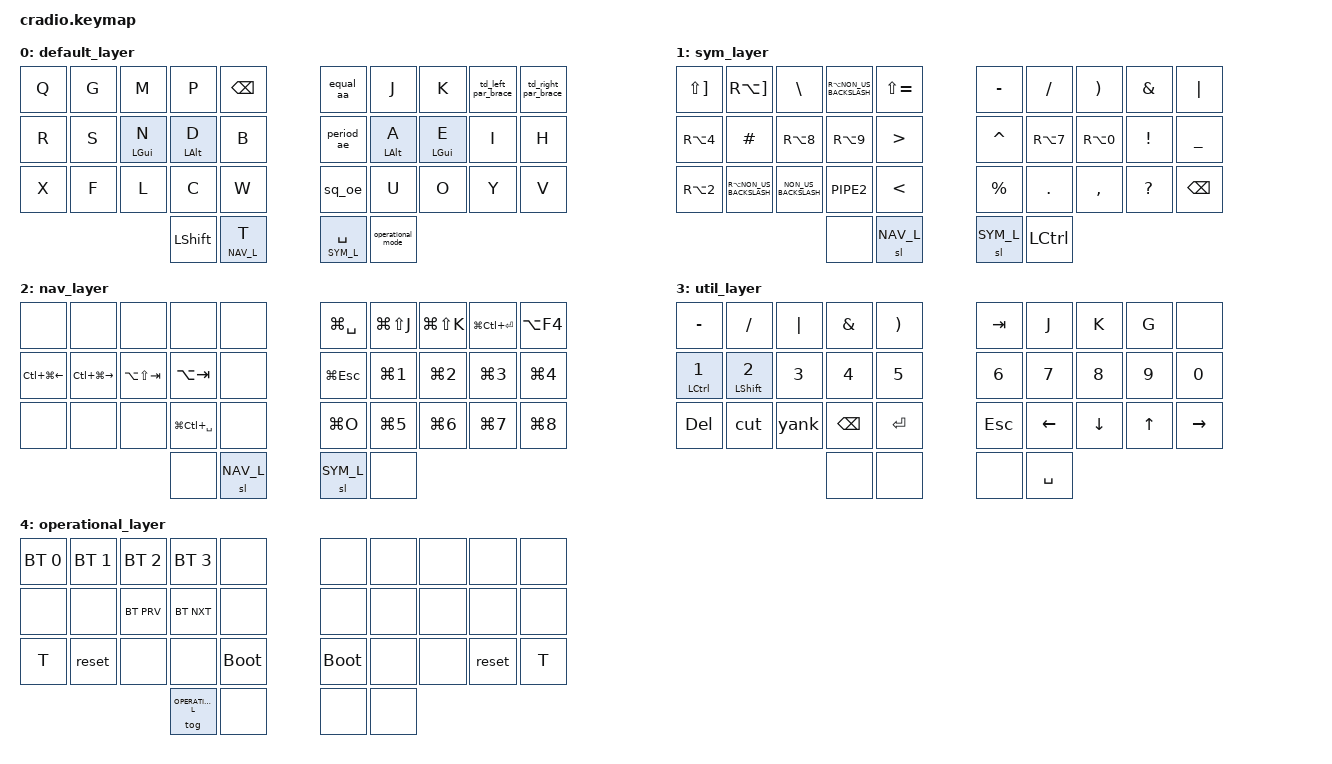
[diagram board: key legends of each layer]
/*
 * Copyright (c) 2020 The ZMK Contributors
 *
 * SPDX-License-Identifier: MIT
 */

#include <behaviors.dtsi>
#include <dt-bindings/zmk/keys.h>
#include <dt-bindings/zmk/bt.h>


&mt {
  tapping_term_ms = <500>;
};
&lt {
  tapping_term_ms = <300>;
            flavor = "tap-preferred";

};
 &sl {
     release-after-ms = <2000>;
 };


// TODO change macros to these

// #############      SWEDISH COMPATIBLE SPECIAL CHARACTERS        #################
/* #define SE_AA LEFT_BRACKET
#define SE_AE SQT
#define SE_OE SEMICOLON */

// #############      LAYERS        #################

#define DEFAULT 0
#define SYM_L 1
#define NAV_L 2
#define UTIL_L 3
#define OPERATIONAL_L 4
//#define NAV2_L 3

// #############      WINDOW KEYS        #################

// Desktop and tab navigation shortcuts
#define DESKTOP_LT   LC(LG(LEFT))
#define DESKTOP_RT   LC(LG(RIGHT))
#define WINDOW_LT    LA(LS(TAB))
#define WINDOW_RT    LA(TAB)
#define TAB_LT       LC(LS(TAB))
#define TAB_RT       LC(TAB)

// Generic bindings
#define KILL_WINDOW  LA(F4)
#define MAXIMIZE  LG(UP)
#define MINIMIZE  LG(DOWN)

// Linux specific navigation 
#define DESKTOP_PREV   LG(ESC)
#define DESKTOP_SPEC   LG(O)

#define WINDOW_1   LG(NUMBER_1)
#define WINDOW_2   LG(NUMBER_2)
#define WINDOW_3   LG(NUMBER_3)
#define WINDOW_4   LG(NUMBER_4)
#define WINDOW_5   LG(NUMBER_5)
#define WINDOW_6   LG(NUMBER_6)
#define WINDOW_7   LG(NUMBER_7)
#define WINDOW_8   LG(NUMBER_8)
#define WINDOW_9   LG(NUMBER_9)

#define SEND_W_TO_1   LG(LS(NUMBER_1))
#define SEND_W_TO_2   LG(LS(NUMBER_2))
#define SEND_W_TO_3   LG(LS(NUMBER_3))
#define SEND_W_TO_4   LG(LS(NUMBER_4))
#define SEND_W_TO_5   LG(LS(NUMBER_5))
#define SEND_W_TO_6   LG(LS(NUMBER_6))
#define SEND_W_TO_7   LG(LS(NUMBER_7))
#define SEND_W_TO_8   LG(LS(NUMBER_8))
#define SEND_W_TO_9   LG(LS(NUMBER_9))

#define ROT_LAYOUT          LG(SPACE)
#define TOGGLE_FLOATING     LG(LC(SPACE))
#define MOVE_TO_MASTER      LG(LC(RET))
#define ROTATE_WINDOW_LT    LG(LS(J))
#define ROTATE_WINDOW_RT    LG(LS(K))

#define UN_MINIMIZE     LG(LC(N))

#define SHRINK_WIDTH    LG(LA(H))
#define EXPAND_WIDTH    LG(LA(L))
#define INC_COL         LG(LC(H))
#define DEC_COL         LG(LC(L))
#define INC_MASTER      LG(LS(H))
#define DEC_MASTER      LG(LS(L))

// TODO ADD VIEW TAG? 
// TODO ADD BIDDIRECTIONAL CLIENT FOCUS
// TODO ADD AND START USING TMUX
// TODO POWER DOWN


// TODO fix swedish double quotes
// TODO add backslash and these ~ ` ^ |
// Swedish keys
#define SE_EXCLAMATION  EXCLAMATION
#define SE_aa LEFT_BRACKET 
#define SE_AA LEFT_BRACE 
#define SE_COLON GREATER_THAN
#define SE_PERIOD PERIOD
#define SE_SEMI_COLON LESS_THAN
#define SE_COMMA COMMA
#define SE_ae SINGLE_QUOTE
#define SE_AE DOUBLE_QUOTES
#define SE_oe SEMICOLON
#define SE_OE COLON
#define SE_GT PIPE2
#define SE_LT NON_US_BACKSLASH
#define SE_STAR PIPE
#define SE_SINGLE_QUOTE BACKSLASH
#define SE_UNDERSCORE  QUESTION
#define SE_MINUS SLASH
#define SE_QUESTION UNDERSCORE
#define SE_PLUS  MINUS
//#define SE_GRAVE  EQUAL
#define SE_EQUAL RIGHT_PARENTHESIS
#define SE_SLASH AMPERSAND
#define SE_AMPERSAND CARET
#define SE_PERCENT PERCENT
#define SE_HASH HASH
#define SE_AT_SIGN RA(NUMBER_2)
//#define SE_PIPE DOUBLE_QUOTES
#define SE_DOLLAR RA(NUMBER_4)
#define SE_LEFT_BRACE RA(NUMBER_7)
#define SE_RIGHT_BRACE RA(NUMBER_0)
#define SE_LEFT_BRACKET RA(NUMBER_8)
#define SE_RIGHT_BRACKET RA(NUMBER_9)
#define SE_LEFT_PARENTHESIS LS(NUMBER_8)
#define SE_RIGHT_PARENTHESIS  LS(NUMBER_9)

// testing these ones
#define SE_TILDE RA(RIGHT_BRACKET)
#define SE_GRAVE LS(EQUAL)
#define SE_CARET LS(RIGHT_BRACKET)
#define SE_PIPE RA(NON_US_BACKSLASH)


// TODO add å ä and ö to the keyboard
 /*         combto_aa {
            timeout-ms = <50>;
            key-positions = <6 7>;
            bindings = <&kp SE_AA>;
        };
         combo_ae {
            timeout-ms = <50>;
            key-positions = <7 8>;
            bindings = <&kp SE_AE>;
        };
            combo_oe {
            timeout-ms = <50>;
            key-positions = <8 9>;
             bindings = <&kp SE_OE>;
        }; */

// Is it possible to override defualt keys, like changing win + j to win + tab?

/ { 
    combos {
        compatible = "zmk,combos";
        // LEFT ROW 2
         /*combo_back_word {
            timeout-ms = <50>;
            key-positions = <13 14>;
            bindings = <&kp LCTRL &kp BACKSPACE>;
        };

        // RIGHT ROW 1
          combo_tab {
            timeout-ms = <50>;
            key-positions = <5 6>;
            bindings = <&kp TAB>;
        };*/


        // RIGHT ROW 2
        /*combo_del {
            timeout-ms = <50>;
            key-positions = <15 16>;
            bindings = <&kp DELETE>;
        };
         combo_back {
            timeout-ms = <50>;
            key-positions = <16 17>;
            bindings = <&kp BACKSPACE>;
        };*/
             combo_return { 
             timeout-ms = <50>; 
            key-positions = <7 8>; 
                          bindings = <&kp RETURN>; 
         }; 
             combo_esc { 
             timeout-ms = <50>; 
             key-positions = <8 9>; 
                          bindings = <&kp ESCAPE>; 
         }; 
        // TO REMOVE THE DELAY FROM HOMEROW KEYS
            combo_z {
            timeout-ms = <50>;
            key-positions = <7 8 9>;
                         bindings = <&kp Z>;
        };


        // FOR OPERATIONAL LAYER
        // combos dont work with reset
        // reset_left {
        //     timeout-ms = <50>;
        //     key-positions = <0 1 2 3>;
        //     layers = <OPERATIONAL_L>;
        //         bindings = <&bootloader>;
        // };
        // reset_right {
        //     timeout-ms = <50>;
        //     key-positions = <6 7 8 9>;
        //     layers = <OPERATIONAL_L>;
        //         bindings = <&bootloader>;
        // };
       
        // RIGHT ROW 3
        /*
        combo_left {
            timeout-ms = <50>;
            key-positions = <25 26>;
            bindings = <&kp LEFT_ARROW>;
        };
         combo_down {
            timeout-ms = <50>;
            key-positions = <26 27>;
            bindings = <&kp DOWN_ARROW>;
        };
            combo_up {
            timeout-ms = <50>;
          key-positions = <27 28>;
            bindings = <&kp UP_ARROW>;
        };
            combo_right {
            timeout-ms = <50>;
            key-positions = <28 29>;
            bindings = <&kp RIGHT_ARROW>;
        };*/
    };

    conditional_layers {
        compatible = "zmk,conditional-layers";
        tri_layer {
            if-layers = <1 2>;
            then-layer = <3>;
        };
    };
    macros {
        back_word: back_word {
            label = "back_word";
            compatible = "zmk,behavior-macro";
            #binding-cells = <0>;
            bindings
                = <&macro_press &kp LCTRL>
                , <&macro_tap &kp BACKSPACE>
                , <&macro_release &kp LCTRL>
                ;
        };
          cut: cut {
            label = "cut";
            compatible = "zmk,behavior-macro";
            #binding-cells = <0>;
            bindings
                = <&macro_press &kp LCTRL>
                , <&macro_tap &kp X>
                , <&macro_release &kp LCTRL>
                ;
        };
          yank: yank {
            label = "yank";
            compatible = "zmk,behavior-macro";
            #binding-cells = <0>;
            bindings
                = <&macro_press &kp LCTRL>
                , <&macro_tap &kp V>
                , <&macro_release &kp LCTRL>
                ;
        };
            uppercase_D: uppercase_D {
            label = "uppercase_D";
            compatible = "zmk,behavior-macro";
            #binding-cells = <0>;
            bindings
                = <&macro_press &kp LSHIFT>
                , <&macro_tap &kp D>
                , <&macro_release &kp LSHIFT>
                ;
        };
          uppercase_Y: uppercase_Y {
            label = "test_uppercase_Y";
            compatible = "zmk,behavior-macro";
            #binding-cells = <0>;
            bindings
                = <&macro_press &kp LSHIFT>
                , <&macro_tap &kp Y>
                , <&macro_release &kp LSHIFT>
                ;
        };
    };


    behaviors {
        hm: homerow_mods {
            compatible = "zmk,behavior-hold-tap";
            label = "HOMEROW_MODS";
            #binding-cells = <2>;
            tapping-term-ms = <300>;
            quick-tap-ms = <0>;
            flavor = "tap-preferred";
            bindings = <&kp>, <&kp>;
        };

        //Commenting these two out makes hm work
        operational_mode: tap_dance_operational_mode {
            compatible = "zmk,behavior-tap-dance";
            label = "TAP_DANCE_0";
            #binding-cells = <0>;
            tapping-term-ms = <500>;
            bindings = <&kp LCTRL>, <&kp LCTRL>,<&kp LCTRL>, <&kp LCTRL>, <&tog OPERATIONAL_L>;
        }; 

        td_equal_minus: td_equal_minus {
            compatible = "zmk,behavior-tap-dance";
            label = "TAP_DANCE_1";
            #binding-cells = <0>;
            tapping-term-ms = <400>;
            bindings = <&kp SE_EQUAL>, <&kp SE_PLUS>;
        }; 

        td_period_comma: td_period_comma {
            compatible = "zmk,behavior-tap-dance";
            label = "TAP_DANCE_2";
            #binding-cells = <0>;
            tapping-term-ms = <400>;
            bindings = <&kp SE_PERIOD>, <&kp SE_COMMA>;
        }; 

        td_sq_slash: td_sq_slash {
            compatible = "zmk,behavior-tap-dance";
            label = "TAP_DANCE_3";
            #binding-cells = <0>;
            tapping-term-ms = <400>;
            bindings = <&kp SE_SINGLE_QUOTE>, <&kp SE_SLASH>;
        }; 

        td_left_par_brace: td_left_par_brace {
            compatible = "zmk,behavior-tap-dance";
            label = "TAP_DANCE_4";
            #binding-cells = <0>;
            tapping-term-ms = <400>;
            bindings = <&kp SE_LEFT_PARENTHESIS>, <&kp SE_LEFT_BRACE>;
        }; 

        td_right_par_brace: td_right_par_brace {
            compatible = "zmk,behavior-tap-dance";
            label = "TAP_DANCE_5";
            #binding-cells = <0>;
            tapping-term-ms = <400>;
            bindings = <&kp SE_RIGHT_PARENTHESIS>, <&kp SE_RIGHT_BRACE>;
        }; 

        // testing ctrl + symbol = å,ä,ö
        equal_aa: equal_aa {
            compatible = "zmk,behavior-mod-morph";
            label = "EQUAL_AA";
            #binding-cells = <0>;
            bindings = <&td_equal_minus>, <&kp SE_aa>;
            mods = <(MOD_LCTL)>;
        };
        period_ae: period_ae{
            compatible = "zmk,behavior-mod-morph";
            label = "PERIOD_AE";
            #binding-cells = <0>;
            bindings = <&td_period_comma>, <&kp SE_ae>;
            mods = <(MOD_LCTL)>;
        };
        sq_oe: sq_oe {
            compatible = "zmk,behavior-mod-morph";
            label = "SQ_OE";
            #binding-cells = <0>;
            bindings = <&td_sq_slash>, <&kp SE_oe>;
            mods = <(MOD_LCTL)>;
        };

        // this one is doomed for some reason it destroys everything
        // hold_reset: hold_reset{
        //     compatible = "zmk,behavior-hold-tap";
        //     label = "HOMEROW_MODS";
        //     #binding-cells = <2>;
        //     tapping-term-ms = <2000>;
        //     quick-tap-ms = <0>;
        //     flavor = "tap-preferred";
        //     bindings = <&bootloader>, <&reset>;
        // };
    };

        keymap  {
            compatible = "zmk,keymap";
       		
        default_layer {
            bindings = <
                &kp Q          &kp G        &kp M       &kp P          &kp BACKSPACE      &equal_aa      &kp J             &kp K                &td_left_par_brace       &td_right_par_brace
                &kp R   &kp S  &hm LGUI N  &hm LALT D     &kp B                   &period_ae                       &hm LALT A            &hm LGUI E        &kp I                 &kp H
                &kp X        &kp F      &kp L       &kp C          &kp W         &sq_oe                  &kp U                 &kp O             &kp Y                      &kp V 
                                                        &kp LSHIFT       &lt NAV_L T        &lt SYM_L SPACE     &operational_mode
            >;
        };
        sym_layer {
            bindings = <
              &kp SE_CARET &kp SE_TILDE &kp SE_SINGLE_QUOTE &kp SE_PIPE &kp SE_GRAVE                                                                 &kp SE_PLUS &kp SE_MINUS &kp SE_EQUAL &kp SE_SLASH &kp SE_STAR 
              &kp SE_DOLLAR &kp SE_HASH &kp SE_LEFT_BRACKET &kp SE_RIGHT_BRACKET &kp SE_COLON                             &kp SE_AMPERSAND &kp SE_LEFT_BRACE &kp SE_RIGHT_BRACE &kp SE_EXCLAMATION &kp SE_QUESTION
              &kp SE_AT_SIGN &kp SE_PIPE &kp SE_LT &kp SE_GT &kp SE_SEMI_COLON                                            &kp SE_PERCENT &kp SE_PERIOD &kp SE_COMMA &kp SE_UNDERSCORE &kp BACKSPACE
              &none &sl NAV_L                                &sl SYM_L &kp LCTRL
            >;
        };
        /* sym_layer { */
        /*     bindings = < */
        /*         &kp DQT     &kp SQT     &kp QUESTION      &kp EXCLAMATION       &none     &none          &none     &none     &none      &none                */
        /*         &kp LEFT_PARENTHESIS     &kp RIGHT_PARENTHESIS       &kp COLON     &kp DOLLAR                   &kp PIPE             &kp GRAVE             &kp HASH      &kp PERCENT     &kp LEFT_BRACE     &kp RIGHT_BRACE */
        /*         &kp LEFT_BRACKET         &kp RIGHT_BRACKET         &kp SEMICOLON   &kp AT_SIGN              &hm BACKSLASH STAR  &kp TILDE             &kp CARET            &kp AMPERSAND         &kp LT     &kp GT */
        /*                                                           &none          &mo NAV_L        &kp T    &none */
        /*     >; */
        /* }; */
//&kp SHRINK_WIDTH     &kp EXPAND_WIDTH
        nav_layer {
            bindings = <
                &none       &none     &none     &none     &none                                   &kp ROT_LAYOUT            &kp ROTATE_WINDOW_LT       &kp ROTATE_WINDOW_RT   &kp MOVE_TO_MASTER       &kp KILL_WINDOW
                &kp DESKTOP_LT     &kp DESKTOP_RT     &kp  WINDOW_LT     &kp WINDOW_RT     &none  &kp DESKTOP_PREV  &kp WINDOW_1        &kp WINDOW_2        &kp WINDOW_3       &kp WINDOW_4     
                &none     &none     &none        &kp TOGGLE_FLOATING &none                        &kp DESKTOP_SPEC  &kp WINDOW_5        &kp WINDOW_6        &kp WINDOW_7       &kp WINDOW_8     

                                              &none    &sl NAV_L                                &sl SYM_L  &none
            >;
        };

        util_layer {
            bindings = <
                 &kp SE_PLUS &kp SE_MINUS  &kp SE_STAR &kp SE_SLASH &kp SE_EQUAL                &kp TAB     &kp J     &kp K  &kp G         &none
                 &hm LCTRL NUMBER_1     &hm LSHIFT NUMBER_2     &kp NUMBER_3      &kp NUMBER_4   &kp NUMBER_5  &kp NUMBER_6         &kp NUMBER_7     &kp NUMBER_8     &kp NUMBER_9      &kp NUMBER_0
                 &kp DELETE  &cut      &yank  &kp BACKSPACE       &kp RETURN          &kp ESCAPE           &kp LEFT_ARROW         &kp DOWN_ARROW      &kp UP_ARROW      &kp RIGHT_ARROW    
                                                  &none          &none            &none &kp SPACE
            >;
        }; 

        operational_layer {
            bindings = <
            &bt BT_SEL 0 &bt BT_SEL 1 &bt BT_SEL 2 &bt BT_SEL 3 &none               &none &none &none &none &none 
            &none &none &bt BT_PRV &bt BT_NXT &none               &none &none &none &none &none 
            &kp T &reset &none &none  &bootloader          &bootloader &none &none &reset &kp T
                        &tog OPERATIONAL_L &none         &none &none 
            >;
        }; 
    };
};








   /*      // TODO improve this */
   /*      nav2_layer { */
   /* bindings = < */
   /*                 &kp SEND_W_TO_1        &kp SEND_W_TO_2        &kp SEND_W_TO_3       &kp SEND_W_TO_4          &kp SEND_W_TO_5       &kp SEND_W_TO_6     &kp SEND_W_TO_7     &kp SEND_W_TO_8     &kp SEND_W_TO_9          &none */
   /*              &kp DEC_COL     &kp INC_COL     &kp DEC_MASTER      &kp INC_MASTER          &kp F1  &kp F2 &kp F3  &kp F4  &kp F5 */
   /*               &sk LSHIFT      &sk LCTRL     &sk LGUI       &sk LALT                    &none                       &kp F6 &kp F7 &kp F8  &kp F9  &kp F10   */
   /*                                                       &none     &none       &kp F11  &kp F12  */
   /*          >; */
   /*      }; */

